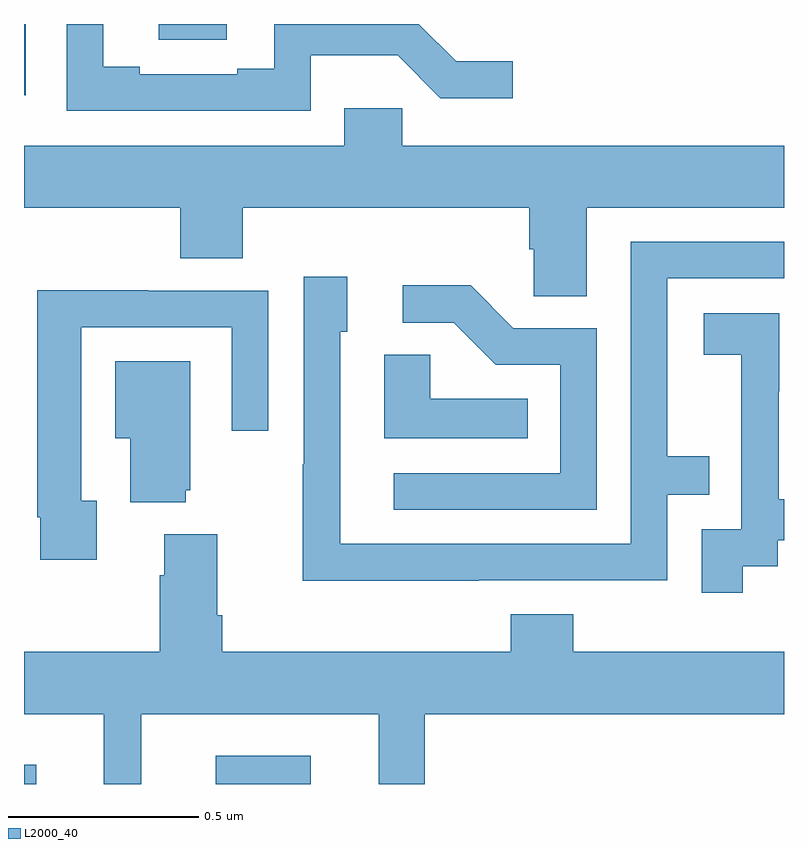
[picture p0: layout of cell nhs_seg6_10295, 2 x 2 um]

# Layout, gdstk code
import gdstk
lib = gdstk.Library(unit=1e-6, precision=1e-09)
def R(c, l, rs):  # rectangles x0, y0, x1, y1
    for r in rs: c.add(gdstk.rectangle(r[:2], r[2:], *l))
def P(c, l, *ps):  # polygons
    for p in ps: c.add(gdstk.Polygon(p, *l))
L2000_40 = (2000, 40)

nhs_seg6_10295 = lib.new_cell('nhs_seg6_10295')
R(nhs_seg6_10295, L2000_40, [(245,932.5,245.032,932.551), (245.504,932.5,245.755,932.575), (245,934.313,245.005,934.5), (245.355,934.459,245.534,934.5)])
P(nhs_seg6_10295, L2000_40, [(245.754,934.418),(245.983,934.418),(246.096,934.305),(246.286,934.305),(246.286,934.402),(246.137,934.402),(246.039,934.5),(245.658,934.5),(245.658,934.382),(245.561,934.382),(245.561,934.368),(245.305,934.368),(245.305,934.388),(245.209,934.388),(245.209,934.5),(245.112,934.5),(245.112,934.272),(245.754,934.272)],
  [(246.481,934.016),(247,934.016),(247,934.18),(245.995,934.18),(245.995,934.278),(245.843,934.278),(245.843,934.18),(245,934.18),(245,934.016),(245.411,934.016),(245.411,933.883),(245.576,933.883),(245.576,934.016),(246.329,934.016),(246.329,933.907),(246.342,933.907),(246.342,933.784),(246.481,933.784)],
  [(246.197,933.036),(246.693,933.036),(246.693,933.261),(246.803,933.261),(246.803,933.362),(246.693,933.362),(246.693,933.831),(247,933.831),(247,933.927),(246.597,933.927),(246.597,933.132),(245.832,933.132),(245.832,933.69),(245.851,933.69),(245.851,933.835),(245.736,933.835),(245.736,933.341),(245.734,933.341),(245.734,933.035),(246.197,933.035)],
  [(246.507,933.699),(246.288,933.699),(246.175,933.812),(245.997,933.812),(245.997,933.714),(246.131,933.714),(246.242,933.603),(246.411,933.603),(246.411,933.318),(245.973,933.318),(245.973,933.222),(246.507,933.222)],
  [(245.191,933.246),(245.151,933.246),(245.151,933.702),(245.547,933.702),(245.547,933.429),(245.643,933.429),(245.643,933.798),(245.327,933.798),(245.327,933.8),(245.035,933.8),(245.035,933.202),(245.043,933.202),(245.043,933.09),(245.191,933.09)],
  [(246.892,933.073),(246.984,933.073),(246.984,933.141),(247,933.141),(247,933.25),(246.986,933.25),(246.986,933.533),(246.987,933.533),(246.987,933.739),(246.789,933.739),(246.789,933.629),(246.887,933.629),(246.887,933.401),(246.888,933.401),(246.888,933.171),(246.783,933.171),(246.783,933.003),(246.892,933.003)],
  [(246.326,933.514),(246.069,933.514),(246.069,933.629),(245.948,933.629),(245.948,933.41),(246.326,933.41)],
  [(245.426,933.273),(245.437,933.273),(245.437,933.613),(245.24,933.613),(245.24,933.41),(245.279,933.41),(245.279,933.242),(245.426,933.242)],
  [(247,932.848),(246.446,932.848),(246.446,932.947),(246.281,932.947),(246.281,932.848),(245.522,932.848),(245.522,932.944),(245.509,932.944),(245.509,933.157),(245.369,933.157),(245.369,933.05),(245.357,933.05),(245.357,932.848),(245,932.848),(245,932.684),(245.21,932.684),(245.21,932.5),(245.309,932.5),(245.309,932.684),(245.933,932.684),(245.933,932.5),(246.055,932.5),(246.055,932.684),(247,932.684)])

lib.write_gds('nhs_seg6_10295.gds')
